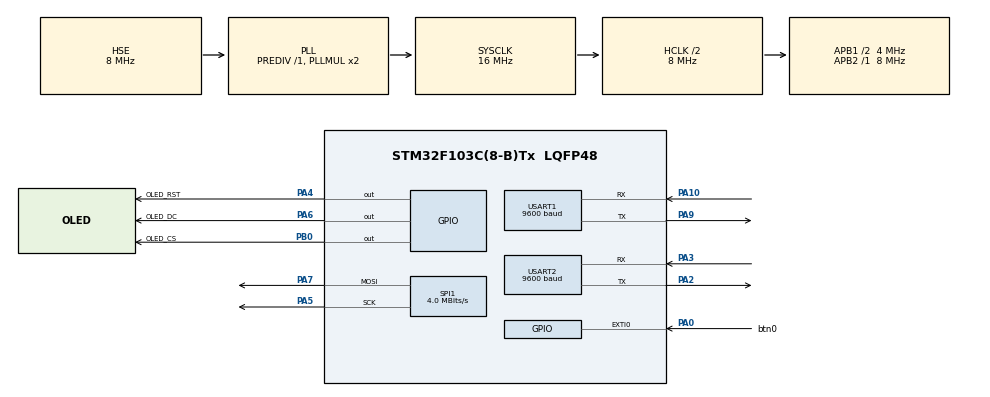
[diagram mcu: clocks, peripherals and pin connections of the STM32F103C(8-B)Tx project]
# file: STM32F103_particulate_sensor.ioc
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Mcu.Family=STM32F1
Mcu.Name=STM32F103C(8-B)Tx
Mcu.Package=LQFP48
NVIC.EXTI0_IRQn=true\:0\:0\:false\:true\:true\:1\:true\:true\:true
NVIC.PriorityGroup=NVIC_PRIORITYGROUP_4
NVIC.TIM2_IRQn=true\:0\:0\:false\:true\:true\:2\:true\:true\:true
PA0-WKUP.GPIO_Label=btn0
PA0-WKUP.GPIO_ModeDefaultEXTI=GPIO_MODE_IT_FALLING
PA0-WKUP.GPIO_PuPd=GPIO_NOPULL
PA0-WKUP.Signal=GPXTI0
PA10.Mode=Asynchronous
PA10.Signal=USART1_RX
PA2.Mode=Asynchronous
PA2.Signal=USART2_TX
PA3.Mode=Asynchronous
PA3.Signal=USART2_RX
PA4.GPIO_Label=OLED_RST
PA4.GPIO_PuPd=GPIO_PULLUP
PA4.GPIO_Speed=GPIO_SPEED_FREQ_HIGH
PA4.PinState=GPIO_PIN_SET
PA4.Signal=GPIO_Output
PA5.Mode=TX_Only_Simplex_Unidirect_Master
PA5.Signal=SPI1_SCK
PA6.GPIO_Label=OLED_DC
PA6.GPIO_PuPd=GPIO_PULLUP
PA6.GPIO_Speed=GPIO_SPEED_FREQ_HIGH
PA6.PinState=GPIO_PIN_SET
PA6.Signal=GPIO_Output
PA7.Mode=TX_Only_Simplex_Unidirect_Master
PA7.Signal=SPI1_MOSI
PA9.Mode=Asynchronous
PA9.Signal=USART1_TX
PB0.GPIO_Label=OLED_CS
PB0.GPIO_PuPd=GPIO_PULLUP
PB0.GPIO_Speed=GPIO_SPEED_FREQ_HIGH
PB0.PinState=GPIO_PIN_SET
PB0.Signal=GPIO_Output
PC14-OSC32_IN.Mode=LSE-External-Oscillator
PC14-OSC32_IN.Signal=RCC_OSC32_IN
PC15-OSC32_OUT.Mode=LSE-External-Oscillator
PC15-OSC32_OUT.Signal=RCC_OSC32_OUT
PD0-OSC_IN.Mode=HSE-External-Oscillator
PD0-OSC_IN.Signal=RCC_OSC_IN
PD1-OSC_OUT.Mode=HSE-External-Oscillator
PD1-OSC_OUT.Signal=RCC_OSC_OUT
ProjectManager.HeapSize=0x200
ProjectManager.StackSize=0x400
ProjectManager.TargetToolchain=STM32CubeIDE
RCC.AHBCLKDivider=RCC_SYSCLK_DIV2
RCC.AHBFreq_Value=8000000
RCC.APB1CLKDivider=RCC_HCLK_DIV2
RCC.APB1Freq_Value=4000000
RCC.APB1TimFreq_Value=8000000
RCC.APB2Freq_Value=8000000
RCC.APB2TimFreq_Value=8000000
RCC.HCLKFreq_Value=8000000
RCC.PLLSourceVirtual=RCC_PLLSOURCE_HSE
RCC.SYSCLKFreq_VALUE=16000000
RCC.SYSCLKSource=RCC_SYSCLKSOURCE_PLLCLK
RCC.USBFreq_Value=16000000
SPI1.BaudRatePrescaler=SPI_BAUDRATEPRESCALER_2
SPI1.CalculateBaudRate=4.0 MBits/s
SPI1.Direction=SPI_DIRECTION_2LINES
SPI1.Mode=SPI_MODE_MASTER
SPI1.VirtualType=VM_MASTER
TIM2.Period=9999
TIM2.Prescaler=47999
USART1.BaudRate=9600
USART1.VirtualMode=VM_ASYNC
USART2.BaudRate=9600
USART2.VirtualMode=VM_ASYNC
VP_SYS_VS_ND.Mode=No_Debug
VP_TIM2_VS_ClockSourceINT.Mode=Internal
board=custom

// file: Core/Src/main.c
/* USER CODE BEGIN Header */
/**
  ******************************************************************************
  * @file           : main.c
  * @brief          : Main program body
  ******************************************************************************
  * @attention
  *
  * Copyright (c) 2023 STMicroelectronics.
  * All rights reserved.
  *
  * This software is licensed under terms that can be found in the LICENSE file
  * in the root directory of this software component.
  * If no LICENSE file comes with this software, it is provided AS-IS.
  *
  ******************************************************************************
  */
/* USER CODE END Header */
#include "main.h"

/* USER CODE BEGIN Includes */
#include "stdio.h"
#include "stdlib.h"
#include "string.h"

#include "u8g2.h"
/* USER CODE END Includes */

/* USER CODE BEGIN PD */
#define SAMPLING_TIME_HIGH 0x00
#define SAMPLING_TIME_LOW 0x24
#define DURATION_TIME_HIGH 0x01
#define DURATION_TIME_LOW 0x2C
/* USER CODE END PD */

/* USER CODE BEGIN PM */
#define OLED
/* USER CODE END PM */

SPI_HandleTypeDef hspi1;

TIM_HandleTypeDef htim2;

UART_HandleTypeDef huart1;
UART_HandleTypeDef huart2;

/* USER CODE BEGIN PV */
uint8_t data;
uint8_t cmd;
uint8_t buff[20];
char str[32];
char str2[32];
char str3[50];

uint8_t timerFlag = 0;
uint8_t timerContinueFlag = 1;
uint8_t btnFlag = 0;
uint8_t btnContinueFlag = 1;

int state = 0;
int i = 0;

uint8_t getDataCommand[5] = { 0x11, 0x02, 0x0B, 0x01, 0xE1 };
uint8_t singleModeSetCommand[6] = { 0x11, 0x03, 0x0D, SAMPLING_TIME_HIGH,
SAMPLING_TIME_LOW, 0xBB };
uint8_t continuousModeSetCommand[6] = { 0x11, 0x03, 0x0D, 0xFF, 0xFF, 0xE1 };

uint8_t timingModeSetCommand[6] = { 0x11, 0x03, 0x05, DURATION_TIME_HIGH,
DURATION_TIME_LOW, 0xBA };
/* USER CODE END PV */

void SystemClock_Config(void);
static void MX_GPIO_Init(void);
static void MX_SPI1_Init(void);
static void MX_USART1_UART_Init(void);
static void MX_USART2_UART_Init(void);
static void MX_TIM2_Init(void);
static void MX_NVIC_Init(void);

/* USER CODE BEGIN 0 */
extern uint8_t u8x8_stm32_gpio_and_delay(u8x8_t *u8x8, uint8_t msg,
		uint8_t arg_int, void *arg_ptr);
extern uint8_t u8x8_byte_stm32_hw_spi(u8x8_t *u8x8, uint8_t msg,
		uint8_t arg_int, void *arg_ptr);

static u8g2_t u8g2;
/* USER CODE END 0 */

int main(void)
{

  /* MCU Configuration--------------------------------------------------------*/

  /* Reset of all peripherals, Initializes the Flash interface and the Systick. */
  HAL_Init();

  /* Configure the system clock */
  SystemClock_Config();

  /* Initialize all configured peripherals */
  MX_GPIO_Init();
  MX_SPI1_Init();
  MX_USART1_UART_Init();
  MX_USART2_UART_Init();
  MX_TIM2_Init();

  /* Initialize interrupts */
  MX_NVIC_Init();
  /* USER CODE BEGIN 2 */
  HAL_TIM_Base_Start_IT(&htim2);

  	u8g2_Setup_ssd1306_128x64_noname_f(&u8g2, U8G2_R0, u8x8_byte_stm32_hw_spi,
  			u8x8_stm32_gpio_and_delay);

  	u8g2_InitDisplay(&u8g2);
  	u8g2_SetPowerSave(&u8g2, 0);

  	u8g2_SetFont(&u8g2, u8g2_font_5x7_tr);
  /* USER CODE END 2 */

  /* Infinite loop */
  /* USER CODE BEGIN WHILE */
  while (1)
  {
	  if (HAL_UART_Receive(&huart1, (uint8_t*) &cmd, 1, 5000) == HAL_OK) {
	  			data = cmd;
	  		}

	  		if (btnFlag == 1 && btnContinueFlag == 1) {
	  			if (i == 0) {
	  				data = '3';
	  				i++;
	  			} else if (i == 1) {
	  				data = '1';
	  				i++;
	  			} else if (i == 2) {
	  				data = '2';
	  				i = 0;
	  				btnFlag = 0;
	  			}
	  		}

	  		if (timerFlag == 1 && timerContinueFlag == 1) {
	  			if (i == 0) {
	  				data = '3';
	  				i++;
	  			} else if (i == 1) {
	  				data = '1';
	  				i++;
	  			} else if (i == 2) {
	  				data = '2';
	  				i = 0;
	  				timerFlag = 0;
	  			}
	  		}

	  		if (timerContinueFlag == 1 || btnContinueFlag == 1) {
	  			memset(buff, 0, 20);
	  			switch (data) {
	  			case '1':
	  				HAL_UART_Transmit(&huart2, (uint8_t*) getDataCommand, 5, 5000);
	  				if (HAL_UART_Receive(&huart2, (uint8_t*) buff, 20, 100)
	  						== HAL_OK) {
	  					state = 1;
	  				}
	  				break;

	  			case '2':
	  				HAL_UART_Transmit(&huart2, (uint8_t*) singleModeSetCommand, 6,
	  						5000);
	  				if (HAL_UART_Receive(&huart2, (uint8_t*) buff, 6, 100)
	  						== HAL_OK) {
	  					state = 2;
	  					timerContinueFlag = 0;

	  					btnContinueFlag = 0;
	  				}
	  				break;

	  			case '3':
	  				HAL_UART_Transmit(&huart2, (uint8_t*) continuousModeSetCommand,
	  						6, 5000);
	  				if (HAL_UART_Receive(&huart2, (uint8_t*) buff, 6, 100)
	  						== HAL_OK) {
	  					state = 2;

	  				}
	  				break;

	  			case '4':
	  				HAL_UART_Transmit(&huart2, (uint8_t*) timingModeSetCommand, 6,
	  						5000);
	  				if (HAL_UART_Receive(&huart2, (uint8_t*) buff, 6, 100)
	  						== HAL_OK) {
	  					state = 2;

	  				}
	  				break;

	  			default:
	  				break;
	  			}
	  		}

	  		if (state == 1) {
	  			//if (HAL_UART_Receive(&huart6, (uint8_t*) buff, 20, 100) == HAL_OK) {

	  			//HAL_UART_Transmit(&huart1, (uint8_t*) buff, 20, 100);

	  			if (buff[0] == 0x16 && buff[1] == 0x11) {
	  				if (buff[2] == 0x0B) {
	  					int val = 0;
	  					val |=(buff[3] << 24) | (buff[4] << 16) | (buff[5] << 8)
	  		  						| buff[6];
	  					sprintf(str, "PM2.5 : %d\r\n", val);
	  #ifndef OLED
	  							HAL_UART_Transmit(&huart1, (uint8_t*) str, sizeof(str),
	  									100);
	  		#endif
	  					val = 0;
	  					val |= (buff[7] << 24) | (buff[8] << 16) | (buff[9] << 8)
	  						| buff[10];
	  					sprintf(str2, "PM10 : %d\r\n", val);
	  #ifndef OLED
	  							HAL_UART_Transmit(&huart1, (uint8_t*) str2, sizeof(str2),
	  									5000);
	  		#else
	  					u8g2_FirstPage(&u8g2);
	  					do {
	  						u8g2_DrawStrX2(&u8g2, 5, 15, str);
	  						u8g2_DrawStrX2(&u8g2, 5, 30, str2);
	  					} while (u8g2_NextPage(&u8g2));
	  #endif

	  					memset(str, 0, sizeof(str));
	  					memset(str2, 0, sizeof(str2));
	  				}
	  			}

	  			//memset(buff, 0, 20);

	  		}

	  		else if (state == 2) {
	  			//	if (HAL_UART_Receive(&huart6, (uint8_t*) buff, 6, 100) == HAL_OK) {

	  			//HAL_UART_Transmit(&huart1, (uint8_t*) buff, 6, 100);

	  			if (buff[0] == 0x16 && buff[1] == 0x03) {
	  				if (buff[2] == 0x0D) {
	  					if (buff[3] == 0xff && buff[4] == 0xff) {
	  						sprintf(str3, "continuous mode\r\n");
	  #ifndef OLED
	  								HAL_UART_Transmit(&huart1, (uint8_t*) str3,
	  										sizeof(str3), 5000);
	  		#else
	  						u8g2_FirstPage(&u8g2);

	  						do {
	  							u8g2_DrawStr(&u8g2, 0, 30, str3);
	  						} while (u8g2_NextPage(&u8g2));
	  #endif
	  						memset(str3, 0, 50);
	  					} else {
	  						int measurement_time = (buff[3] << 8) | buff[4];
	  						/*sprintf(str3, "single mode time : %d sec\r\n",
	  								measurement_time);*/
	  						sprintf(str3,"stop state,interval 1 min\r\n");

	  #ifndef OLED
	  								HAL_UART_Transmit(&huart1, (uint8_t*) str3,
	  										sizeof(str3), 5000);
	  		#else
	  						u8g2_FirstPage(&u8g2);
	  						do {

	  							u8g2_DrawStr(&u8g2, 0, 30, str3);
	  						} while (u8g2_NextPage(&u8g2));
	  #endif
	  						memset(str3, 0, 50);
	  					}
	  				} else if (buff[2] == 0x05) {
	  					int duration_time = (buff[3] << 8) | buff[4];
	  					sprintf(str3, "timing mode interval : %d sec\r\n",
	  							duration_time);
	  #ifndef OLED
	  							HAL_UART_Transmit(&huart1, (uint8_t*) str3, sizeof(str3),
	  									5000);
	  		#else
	  					u8g2_FirstPage(&u8g2);
	  					do {

	  						u8g2_DrawStr(&u8g2, 0, 30, str3);
	  					} while (u8g2_NextPage(&u8g2));
	  #endif
	  					memset(str3, 0, 50);
	  				}
	  			}

	  			//memset(buff, 0, 20);

	  		}
    /* USER CODE END WHILE */

  }
}

void SystemClock_Config(void)
{
  RCC_OscInitTypeDef RCC_OscInitStruct = {0};
  RCC_ClkInitTypeDef RCC_ClkInitStruct = {0};

  /** Initializes the RCC Oscillators according to the specified parameters
  * in the RCC_OscInitTypeDef structure.
  */
  RCC_OscInitStruct.OscillatorType = RCC_OSCILLATORTYPE_HSE;
  RCC_OscInitStruct.HSEState = RCC_HSE_ON;
  RCC_OscInitStruct.HSEPredivValue = RCC_HSE_PREDIV_DIV1;
  RCC_OscInitStruct.HSIState = RCC_HSI_ON;
  RCC_OscInitStruct.PLL.PLLState = RCC_PLL_ON;
  RCC_OscInitStruct.PLL.PLLSource = RCC_PLLSOURCE_HSE;
  RCC_OscInitStruct.PLL.PLLMUL = RCC_PLL_MUL2;
  if (HAL_RCC_OscConfig(&RCC_OscInitStruct) != HAL_OK)
  {
    Error_Handler();
  }

  /** Initializes the CPU, AHB and APB buses clocks
  */
  RCC_ClkInitStruct.ClockType = RCC_CLOCKTYPE_HCLK|RCC_CLOCKTYPE_SYSCLK
                              |RCC_CLOCKTYPE_PCLK1|RCC_CLOCKTYPE_PCLK2;
  RCC_ClkInitStruct.SYSCLKSource = RCC_SYSCLKSOURCE_PLLCLK;
  RCC_ClkInitStruct.AHBCLKDivider = RCC_SYSCLK_DIV2;
  RCC_ClkInitStruct.APB1CLKDivider = RCC_HCLK_DIV2;
  RCC_ClkInitStruct.APB2CLKDivider = RCC_HCLK_DIV1;

  if (HAL_RCC_ClockConfig(&RCC_ClkInitStruct, FLASH_LATENCY_0) != HAL_OK)
  {
    Error_Handler();
  }
}

/**
  * @brief NVIC Configuration.
  * @retval None
  */
static void MX_NVIC_Init(void)
{
  /* EXTI0_IRQn interrupt configuration */
  HAL_NVIC_SetPriority(EXTI0_IRQn, 0, 0);
  HAL_NVIC_EnableIRQ(EXTI0_IRQn);
  /* TIM2_IRQn interrupt configuration */
  HAL_NVIC_SetPriority(TIM2_IRQn, 0, 0);
  HAL_NVIC_EnableIRQ(TIM2_IRQn);
}

static void MX_SPI1_Init(void)
{

  /* SPI1 parameter configuration*/
  hspi1.Instance = SPI1;
  hspi1.Init.Mode = SPI_MODE_MASTER;
  hspi1.Init.Direction = SPI_DIRECTION_2LINES;
  hspi1.Init.DataSize = SPI_DATASIZE_8BIT;
  hspi1.Init.CLKPolarity = SPI_POLARITY_LOW;
  hspi1.Init.CLKPhase = SPI_PHASE_1EDGE;
  hspi1.Init.NSS = SPI_NSS_SOFT;
  hspi1.Init.BaudRatePrescaler = SPI_BAUDRATEPRESCALER_2;
  hspi1.Init.FirstBit = SPI_FIRSTBIT_MSB;
  hspi1.Init.TIMode = SPI_TIMODE_DISABLE;
  hspi1.Init.CRCCalculation = SPI_CRCCALCULATION_DISABLE;
  hspi1.Init.CRCPolynomial = 10;
  if (HAL_SPI_Init(&hspi1) != HAL_OK)
  {
    Error_Handler();
  }

}

static void MX_TIM2_Init(void)
{

  TIM_ClockConfigTypeDef sClockSourceConfig = {0};
  TIM_MasterConfigTypeDef sMasterConfig = {0};

  htim2.Instance = TIM2;
  htim2.Init.Prescaler = 47999;
  htim2.Init.CounterMode = TIM_COUNTERMODE_UP;
  htim2.Init.Period = 9999;
  htim2.Init.ClockDivision = TIM_CLOCKDIVISION_DIV1;
  htim2.Init.AutoReloadPreload = TIM_AUTORELOAD_PRELOAD_DISABLE;
  if (HAL_TIM_Base_Init(&htim2) != HAL_OK)
  {
    Error_Handler();
  }
  sClockSourceConfig.ClockSource = TIM_CLOCKSOURCE_INTERNAL;
  if (HAL_TIM_ConfigClockSource(&htim2, &sClockSourceConfig) != HAL_OK)
  {
    Error_Handler();
  }
  sMasterConfig.MasterOutputTrigger = TIM_TRGO_RESET;
  sMasterConfig.MasterSlaveMode = TIM_MASTERSLAVEMODE_DISABLE;
  if (HAL_TIMEx_MasterConfigSynchronization(&htim2, &sMasterConfig) != HAL_OK)
  {
    Error_Handler();
  }

}

static void MX_USART1_UART_Init(void)
{

  huart1.Instance = USART1;
  huart1.Init.BaudRate = 9600;
  huart1.Init.WordLength = UART_WORDLENGTH_8B;
  huart1.Init.StopBits = UART_STOPBITS_1;
  huart1.Init.Parity = UART_PARITY_NONE;
  huart1.Init.Mode = UART_MODE_TX_RX;
  huart1.Init.HwFlowCtl = UART_HWCONTROL_NONE;
  huart1.Init.OverSampling = UART_OVERSAMPLING_16;
  if (HAL_UART_Init(&huart1) != HAL_OK)
  {
    Error_Handler();
  }

}

static void MX_USART2_UART_Init(void)
{

  huart2.Instance = USART2;
  huart2.Init.BaudRate = 9600;
  huart2.Init.WordLength = UART_WORDLENGTH_8B;
  huart2.Init.StopBits = UART_STOPBITS_1;
  huart2.Init.Parity = UART_PARITY_NONE;
  huart2.Init.Mode = UART_MODE_TX_RX;
  huart2.Init.HwFlowCtl = UART_HWCONTROL_NONE;
  huart2.Init.OverSampling = UART_OVERSAMPLING_16;
  if (HAL_UART_Init(&huart2) != HAL_OK)
  {
    Error_Handler();
  }

}

static void MX_GPIO_Init(void)
{
  GPIO_InitTypeDef GPIO_InitStruct = {0};

  /* GPIO Ports Clock Enable */
  __HAL_RCC_GPIOC_CLK_ENABLE();
  __HAL_RCC_GPIOD_CLK_ENABLE();
  __HAL_RCC_GPIOA_CLK_ENABLE();
  __HAL_RCC_GPIOB_CLK_ENABLE();

  /*Configure GPIO pin Output Level */
  HAL_GPIO_WritePin(GPIOA, OLED_RST_Pin|OLED_DC_Pin, GPIO_PIN_SET);

  /*Configure GPIO pin Output Level */
  HAL_GPIO_WritePin(OLED_CS_GPIO_Port, OLED_CS_Pin, GPIO_PIN_SET);

  /*Configure GPIO pin : btn0_Pin */
  GPIO_InitStruct.Pin = btn0_Pin;
  GPIO_InitStruct.Mode = GPIO_MODE_IT_FALLING;
  GPIO_InitStruct.Pull = GPIO_NOPULL;
  HAL_GPIO_Init(btn0_GPIO_Port, &GPIO_InitStruct);

  /*Configure GPIO pins : OLED_RST_Pin OLED_DC_Pin */
  GPIO_InitStruct.Pin = OLED_RST_Pin|OLED_DC_Pin;
  GPIO_InitStruct.Mode = GPIO_MODE_OUTPUT_PP;
  GPIO_InitStruct.Pull = GPIO_PULLUP;
  GPIO_InitStruct.Speed = GPIO_SPEED_FREQ_HIGH;
  HAL_GPIO_Init(GPIOA, &GPIO_InitStruct);

  /*Configure GPIO pin : OLED_CS_Pin */
  GPIO_InitStruct.Pin = OLED_CS_Pin;
  GPIO_InitStruct.Mode = GPIO_MODE_OUTPUT_PP;
  GPIO_InitStruct.Pull = GPIO_PULLUP;
  GPIO_InitStruct.Speed = GPIO_SPEED_FREQ_HIGH;
  HAL_GPIO_Init(OLED_CS_GPIO_Port, &GPIO_InitStruct);

}

/* USER CODE BEGIN 4 */
void HAL_TIM_PeriodElapsedCallback(TIM_HandleTypeDef *htim) {
	//GPIO PIN OUTPUT HIGH
	if (htim->Instance == htim2.Instance) {
		timerFlag = 1;
		timerContinueFlag = 1;
	}
}

void HAL_GPIO_EXTI_Callback(uint16_t GPIO_Pin) {
	if (GPIO_Pin == btn0_Pin) {

			btnFlag = 1;
			btnContinueFlag = 1;

	}
}
/* USER CODE END 4 */

void Error_Handler(void)
{
  __disable_irq();
  while (1)
  {
  }
}
